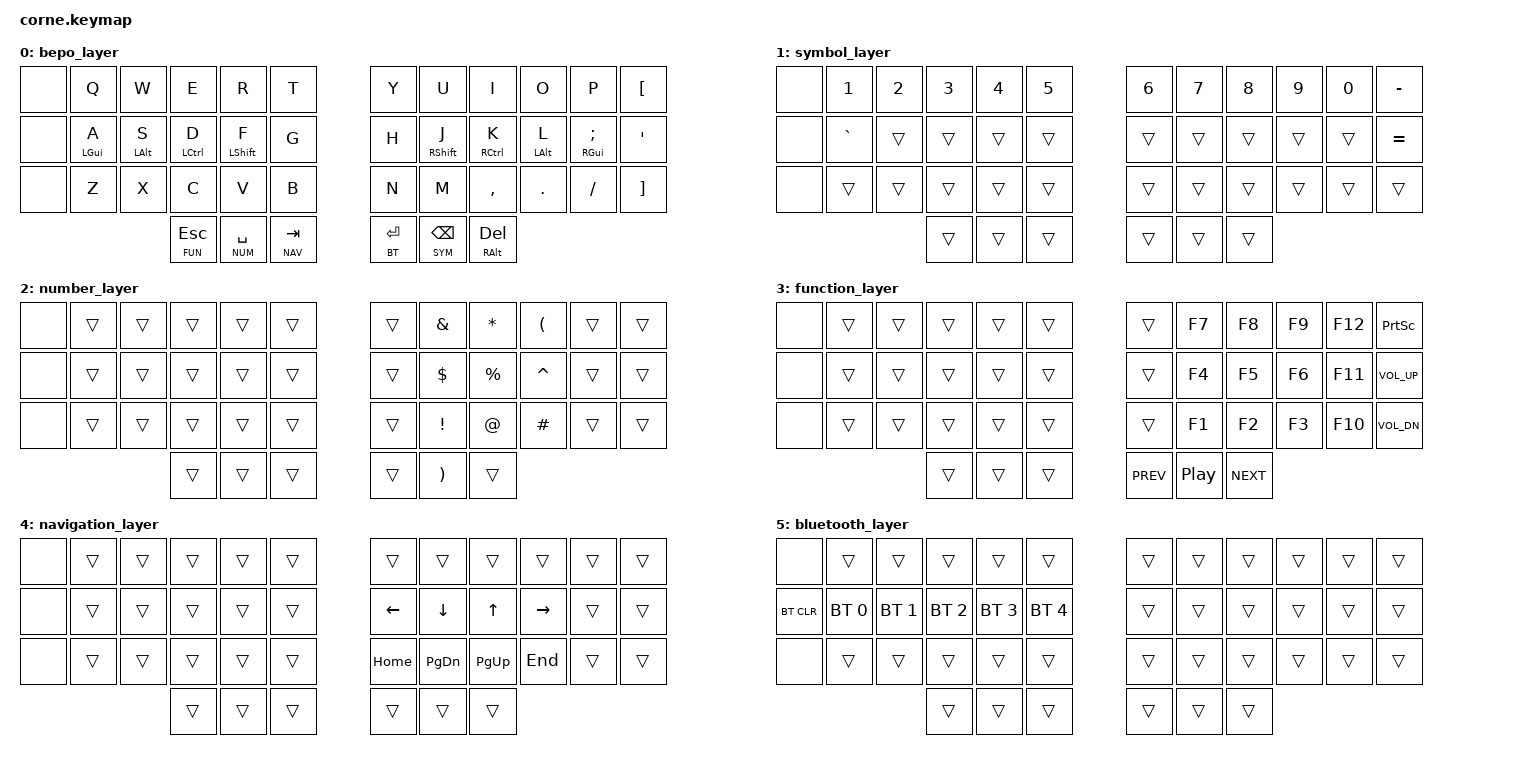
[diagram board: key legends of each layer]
/*
 * Copyright (c) 2025 Benjamin Collet <benjamin.collet@protonmail.ch>
 *
 * SPDX-License-Identifier: MIT
 */

#include <behaviors.dtsi>
#include <dt-bindings/zmk/keys.h>
#include <dt-bindings/zmk/bt.h>

#define SYM 1
#define NUM 2
#define FUN 3
#define NAV 4
#define BT  5

&mt {
    flavor = "tap-preferred";
};

/ {
    keymap {
        compatible = "zmk,keymap";

        bepo_layer {
// -------------------------------------   -------------------------------------
// |     |  B  |  É  |  P  |  O  |  È  |   |  ^  |  V  |  D  |  L  |  J  |  Z  |
// |     |  A  |  U  |  I  |  E  |  ,  |   |  C  |  T  |  S  |  R  |  N  |  M  |
// |     |  À  |  Y  |  X  |  .  |  K  |   |  ’  |  Q  |  G  |  H  |  F  |  W  |
//                   | ESC | SPC | TAB |   | ENT | BKSP| DEL |
            bindings = <
    &none &kp Q      &kp W      &kp E       &kp R       &kp T   &kp Y &kp U       &kp I       &kp O      &kp P         &kp LBKT
    &none &mt LGUI A &mt LALT S &mt LCTRL D &mt LSHFT F &kp G   &kp H &mt RSHFT J &mt RCTRL K &mt LALT L &mt RGUI SEMI &kp SQT
    &none &kp Z      &kp X      &kp C       &kp V       &kp B   &kp N &kp M       &kp COMMA   &kp DOT    &kp FSLH      &kp RBKT
                        &lt FUN ESC &lt NUM SPACE &lt NAV TAB   &lt BT RET &lt SYM BSPC &mt RALT DEL
            >;
        };

        symbol_layer {
// -------------------------------------   -------------------------------------
// |     |  "  |  «  |  »  |  (  |  )  |   |  @  |  +  |  -  |  /  |  *  |  =  |
// |     |  $  |     |     |     |     |   |     |     |     |     |     |  %  |
// |     |     |     |     |     |     |   |     |     |     |     |     |     |
//                   |     |     |     |   |     |     |     |
            bindings = <
    &none &kp N1    &kp N2 &kp N3 &kp N4 &kp N5   &kp N6 &kp N7 &kp N8 &kp N9 &kp N0 &kp MINUS
    &none &kp GRAVE &trans &trans &trans &trans   &trans &trans &trans &trans &trans &kp EQUAL
    &none &trans    &trans &trans &trans &trans   &trans &trans &trans &trans &trans &trans
                           &trans &trans &trans   &trans &trans &trans
            >;
        };

        number_layer {
// -------------------------------------   -------------------------------------
// |     |     |     |     |     |     |   |     |  7  |  8  |  9  |     |     |
// |     |     |     |     |     |     |   |     |  4  |  5  |  6  |     |     |
// |     |     |     |     |     |     |   |     |  1  |  2  |  3  |     |     |
//                   |     |     |     |   |     |  0  |     |
            bindings = <
    &none &trans &trans &trans &trans &trans   &trans &kp AMPS &kp STAR  &kp LPAR  &trans &trans
    &none &trans &trans &trans &trans &trans   &trans &kp DLLR &kp PRCNT &kp CARET &trans &trans
    &none &trans &trans &trans &trans &trans   &trans &kp EXCL &kp AT    &kp HASH  &trans &trans
                        &trans &trans &trans   &trans &kp RPAR &trans
            >;
        };

        function_layer {
// -------------------------------------   -------------------------------------
// |     |     |     |     |     |     |   |     |  F7 |  F8 |  F9 | F12 |PrtSc|
// |     |     |     |     |     |     |   |     |  F4 |  F5 |  F6 | F11 |  🔊  |
// |     |     |     |     |     |     |   |     |  F1 |  F2 |  F3 | F10 |  🔉  |
//                   |     |     |     |   |  ⏮  |  ⏯  |  ⏭  |
            bindings = <
    &none &trans &trans &trans &trans &trans   &trans &kp F7 &kp F8 &kp F9 &kp F12 &kp PSCRN
    &none &trans &trans &trans &trans &trans   &trans &kp F4 &kp F5 &kp F6 &kp F11 &kp C_VOL_UP
    &none &trans &trans &trans &trans &trans   &trans &kp F1 &kp F2 &kp F3 &kp F10 &kp C_VOL_DN
                        &trans &trans &trans   &kp C_PREV &kp C_PLAY_PAUSE &kp C_NEXT
            >;
        };

        navigation_layer {
// -------------------------------------   -------------------------------------
// |     |     |     |     |     |     |   |     |     |     |     |     |     |
// |     |     |     |     |     |     |   |  ◀  |  ▼  |  ▲  |  ▶  |     |     |
// |     |     |     |     |     |     |   | HOME| PGDN| PGUP| END |     |     |
//                   |     |     |     |   |     |     |     |
            bindings = <
    &none &trans &trans &trans &trans &trans   &trans   &trans    &trans    &trans    &trans &trans
    &none &trans &trans &trans &trans &trans   &kp LEFT &kp DOWN  &kp UP    &kp RIGHT &trans &trans
    &none &trans &trans &trans &trans &trans   &kp HOME &kp PG_DN &kp PG_UP &kp END   &trans &trans
                        &trans &trans &trans   &trans &trans &trans
            >;
        };

        bluetooth_layer {
// -------------------------------------   -------------------------------------
// |     |     |     |     |     |     |   |     |     |     |     |     |     |
// |BTCLR| BT1 | BT2 | BT3 | BT4 | BT5 |   |     |     |     |     |     |     |
// |     |     |     |     |     |     |   |     |     |     |     |     |     |
//                   |     |     |     |   |     |     |     |
            bindings = <
    &none      &trans       &trans       &trans       &trans       &trans         &trans &trans &trans &trans &trans &trans
    &bt BT_CLR &bt BT_SEL 0 &bt BT_SEL 1 &bt BT_SEL 2 &bt BT_SEL 3 &bt BT_SEL 4   &trans &trans &trans &trans &trans &trans
    &none      &trans       &trans       &trans       &trans       &trans         &trans &trans &trans &trans &trans &trans
                                                           &trans &trans &trans   &trans &trans &trans
            >;
        };
    };
};
